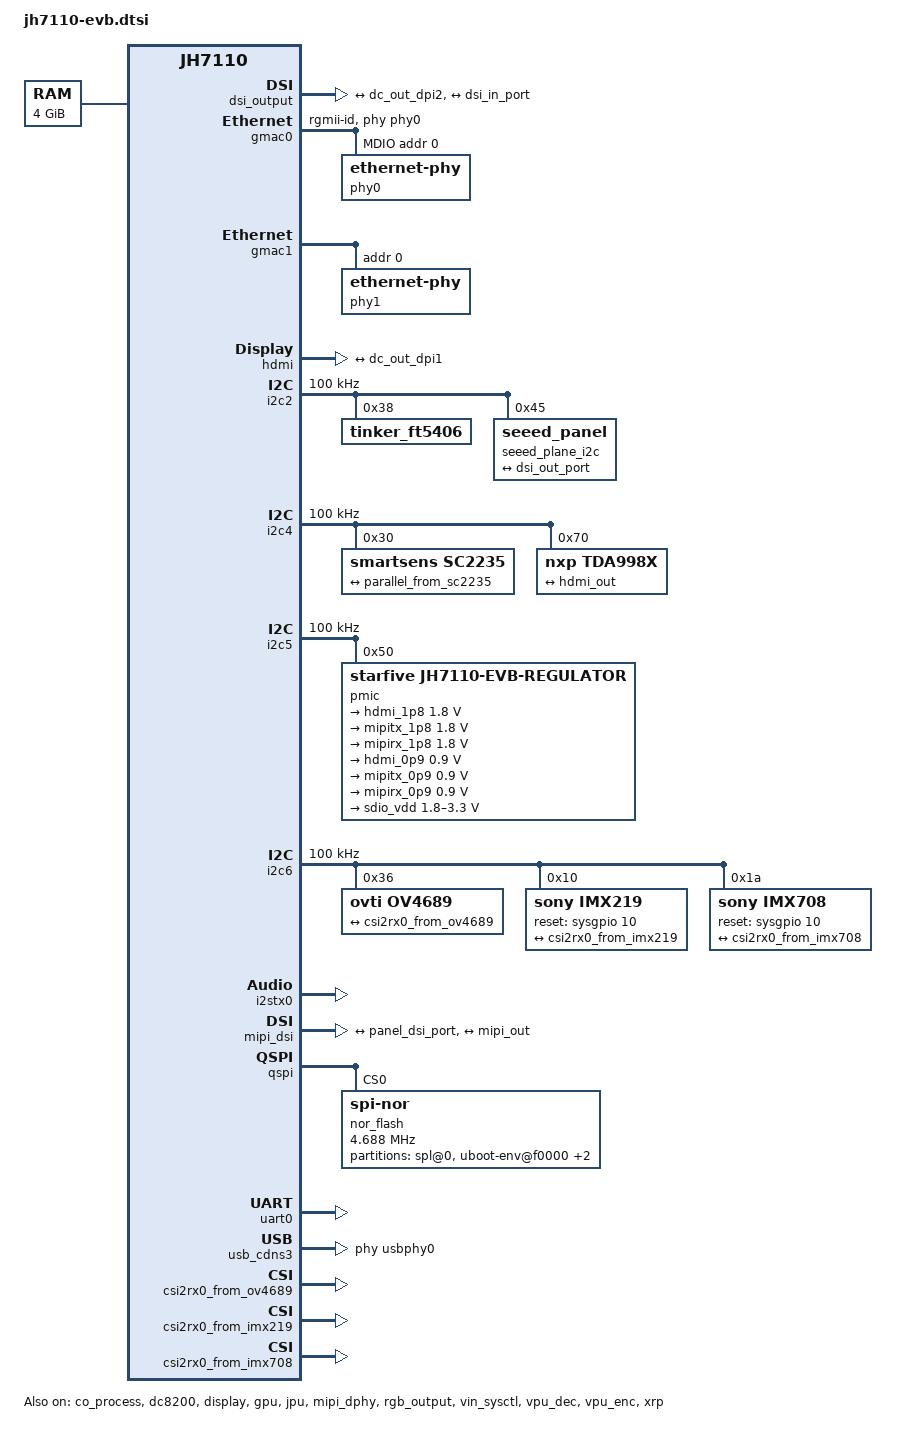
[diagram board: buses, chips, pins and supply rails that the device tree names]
// SPDX-License-Identifier: GPL-2.0 OR MIT
/*
 * Copyright (C) 2023 StarFive Technology Co., Ltd.
 */

/dts-v1/;
#include "jh7110.dtsi"
#include "jh7110-clk.dtsi"
#include "jh7110-evb-pinctrl.dtsi"
#include <dt-bindings/gpio/gpio.h>

/ {
	aliases {
		ethernet0 = &gmac0;
		ethernet1 = &gmac1;
		i2c0 = &i2c0;
		i2c1 = &i2c1;
		i2c2 = &i2c2;
		i2c3 = &i2c3;
		i2c4 = &i2c4;
		i2c5 = &i2c5;
		i2c6 = &i2c6;
		pcie0 = &pcie0;
		pcie1 = &pcie1;
		serial0 = &uart0;
		serial3 = &uart3;
	};

	chosen {
		stdout-path = "serial0:115200n8";
	};

	cpus {
		timebase-frequency = <4000000>;
	};

	memory@40000000 {
		device_type = "memory";
		reg = <0x0 0x40000000 0x1 0x0>;
	};

	reserved-memory {
		#address-cells = <2>;
		#size-cells = <2>;
		ranges;

		linux,cma {
			compatible = "shared-dma-pool";
			reusable;
			size = <0x0 0x20000000>;
			alignment = <0x0 0x1000>;
			alloc-ranges = <0x0 0x70000000 0x0 0x20000000>;
			linux,cma-default;
		};

		e24_mem: e24@c0000000 {
			reg = <0x0 0x6ce00000 0x0 0x1600000>;
		};

		xrp_reserved: xrpbuffer@f0000000 {
			reg = <0x0 0x69c00000 0x0 0x01ffffff
			       0x0 0x6bc00000 0x0 0x00001000
			       0x0 0x6bc01000 0x0 0x00fff000
			       0x0 0x6cc00000 0x0 0x00001000>;
		};
	};

	/* i2s + hdmi */
	sound1: snd-card1 {
		compatible = "simple-audio-card";
		#address-cells = <1>;
		#size-cells = <0>;

		simple-audio-card,name = "StarFive-HDMI-Sound-Card";
		simple-audio-card,dai-link@0 {
			reg = <0>;
			format = "i2s";
			bitclock-master = <&sndi2s0>;
			frame-master = <&sndi2s0>;
			mclk-fs = <256>;
			status = "okay";

			sndi2s0: cpu {
				sound-dai = <&i2stx0>;
			};

			codec {
				sound-dai = <&hdmi>;
			};
		};
	};
};

&U74_1 {
	/delete-property/ clocks;
	/delete-property/ clock-names;
};

&U74_2 {
	/delete-property/ clocks;
	/delete-property/ clock-names;
};

&U74_3 {
	/delete-property/ clocks;
	/delete-property/ clock-names;
};

&U74_4 {
	/delete-property/ clocks;
	/delete-property/ clock-names;
};

&can0 {
	pinctrl-names = "default";
	pinctrl-0 = <&can0_pins>;
	status = "disabled";
};

&can1 {
	pinctrl-names = "default";
	pinctrl-0 = <&can1_pins>;
	status = "disabled";
};

&co_process {
	memory-region = <&e24_mem>;
	status = "okay";
};

&dc8200 {
	status = "okay";

	dc_out: port {
		#address-cells = <1>;
		#size-cells = <0>;

		dc_out_dpi0: endpoint@0 {
			reg = <0>;
			remote-endpoint = <&hdmi_input0>;
		};
		dc_out_dpi1: endpoint@1 {
			reg = <1>;
			remote-endpoint = <&hdmi_in_lcdc>;
		};
		dc_out_dpi2: endpoint@2 {
			reg = <2>;
			remote-endpoint = <&mipi_in>;
		};
	};
};

&display {
	ports = <&dc_out_dpi0>;
	status = "okay";
};

&dsi_output {
	status = "okay";

	ports {
		#address-cells = <1>;
		#size-cells = <0>;

		port@0 {
			reg = <0>;
			mipi_in: endpoint {
				remote-endpoint = <&dc_out_dpi2>;
			};
		};

		port@1 {
			reg = <1>;
			mipi_out: endpoint {
				remote-endpoint = <&dsi_in_port>;
			};
		};
	};
};

&gmac0 {
	phy-handle = <&phy0>;
	phy-mode = "rgmii-id";
	status = "okay";

	mdio {
		#address-cells = <1>;
		#size-cells = <0>;
		compatible = "snps,dwmac-mdio";

		phy0: ethernet-phy@0 {
			reg = <0>;
			rx-internal-delay-ps = <1900>;
			tx-internal-delay-ps = <1650>;
		};
	};
};

&gmac1 {
	#address-cells = <1>;
	#size-cells = <0>;
	status = "okay";

	phy1: ethernet-phy@1 {
		reg = <0>;
		rxc-skew-ps = <1060>;
		txc-skew-ps = <1800>;
	};
};

&gpu {
	status = "okay";
};

&hdmi {
	status = "okay";
	pinctrl-names = "default";
	pinctrl-0 = <&hdmi_pins>;
	hpd-gpio = <&sysgpio 15 GPIO_ACTIVE_HIGH>;

	hdmi_in: port {
		#address-cells = <1>;
		#size-cells = <0>;
		hdmi_in_lcdc: endpoint@0 {
			reg = <0>;
			remote-endpoint = <&dc_out_dpi1>;
		};
	};
};

&i2c0 {
	clock-frequency = <100000>;
	i2c-sda-hold-time-ns = <300>;
	i2c-sda-falling-time-ns = <510>;
	i2c-scl-falling-time-ns = <510>;
	pinctrl-names = "default";
	pinctrl-0 = <&i2c0_pins>;
	status = "disabled";

	wm8960: codec@1a {
		compatible = "wlf,wm8960";
		reg = <0x1a>;
		wlf,shared-lrclk;
		#sound-dai-cells = <0>;
	};

	ac108: ac108@3b {
		compatible = "x-power,ac108_0";
		reg = <0x3b>;
		#sound-dai-cells = <0>;
		data-protocol = <0>;
	};
};

&i2c1 {
	clock-frequency = <100000>;
	i2c-sda-hold-time-ns = <300>;
	i2c-sda-falling-time-ns = <510>;
	i2c-scl-falling-time-ns = <510>;
	pinctrl-names = "default";
	pinctrl-0 = <&i2c1_pins>;
	status = "disabled";
};

&i2c2 {
	clock-frequency = <100000>;
	i2c-sda-hold-time-ns = <300>;
	i2c-sda-falling-time-ns = <510>;
	i2c-scl-falling-time-ns = <510>;
	pinctrl-names = "default";
	pinctrl-0 = <&i2c2_pins>;
	status = "okay";

	tinker_ft5406: tinker_ft5406@38 {
		compatible = "tinker_ft5406";
		reg = <0x38>;
	};

	seeed_plane_i2c@45 {
		compatible = "seeed_panel";
		reg = <0x45>;

		port {
			panel_dsi_port: endpoint {
				remote-endpoint = <&dsi_out_port>;
			};
		};
	};
};

&i2c3 {
	clock-frequency = <100000>;
	i2c-sda-hold-time-ns = <300>;
	i2c-sda-falling-time-ns = <510>;
	i2c-scl-falling-time-ns = <510>;
	pinctrl-names = "default";
	pinctrl-0 = <&i2c3_pins>;
	status = "disabled";
};

&i2c4 {
	clock-frequency = <100000>;
	i2c-sda-hold-time-ns = <300>;
	i2c-sda-falling-time-ns = <510>;
	i2c-scl-falling-time-ns = <510>;
	pinctrl-names = "default";
	pinctrl-0 = <&i2c4_pins>;
	status = "okay";

	sc2235: sc2235@30 {
		compatible = "smartsens,sc2235";
		reg = <0x30>;
		clocks = <&clk_ext_camera>;
		clock-names = "xclk";

		port {
			/* Parallel bus endpoint */
			sc2235_to_parallel: endpoint {
				remote-endpoint = <&parallel_from_sc2235>;
				bus-type = <5>;      /* Parallel */
				bus-width = <8>;
				data-shift = <2>; /* lines 13:6 are used */
				hsync-active = <1>;
				vsync-active = <1>;
				pclk-sample = <1>;
			};
		};
	};

	tda998x@70 {
		compatible = "nxp,tda998x";
		reg = <0x70>;

		port {
			tda998x_0_input: endpoint {
				remote-endpoint = <&hdmi_out>;
			};
		};
	};
};

&i2c5 {
	clock-frequency = <100000>;
	i2c-sda-hold-time-ns = <300>;
	i2c-sda-falling-time-ns = <510>;
	i2c-scl-falling-time-ns = <510>;
	pinctrl-names = "default";
	pinctrl-0 = <&i2c5_pins>;
	status = "okay";

	pmic: jh7110_evb_reg@50 {
		compatible = "starfive,jh7110-evb-regulator";
		reg = <0x50>;

		regulators {
			hdmi_1p8: LDO_REG1 {
				regulator-name = "hdmi_1p8";
				regulator-min-microvolt = <1800000>;
				regulator-max-microvolt = <1800000>;
			};
			mipitx_1p8: LDO_REG2 {
				regulator-name = "mipitx_1p8";
				regulator-min-microvolt = <1800000>;
				regulator-max-microvolt = <1800000>;
			};
			mipirx_1p8: LDO_REG3 {
				regulator-name = "mipirx_1p8";
				regulator-min-microvolt = <1800000>;
				regulator-max-microvolt = <1800000>;
			};
			hdmi_0p9: LDO_REG4 {
				regulator-name = "hdmi_0p9";
				regulator-min-microvolt = <900000>;
				regulator-max-microvolt = <900000>;
			};
			mipitx_0p9: LDO_REG5 {
				regulator-name = "mipitx_0p9";
				regulator-min-microvolt = <900000>;
				regulator-max-microvolt = <900000>;
			};
			mipirx_0p9: LDO_REG6 {
				regulator-name = "mipirx_0p9";
				regulator-min-microvolt = <900000>;
				regulator-max-microvolt = <900000>;
			};
			sdio_vdd: LDO_REG7 {
				regulator-name = "sdio_vdd";
				regulator-min-microvolt = <1800000>;
				regulator-max-microvolt = <3300000>;
			};
		};
	};
};

&i2c6 {
	clock-frequency = <100000>;
	i2c-sda-hold-time-ns = <300>;
	i2c-sda-falling-time-ns = <510>;
	i2c-scl-falling-time-ns = <510>;
	pinctrl-names = "default";
	pinctrl-0 = <&i2c6_pins>;
	status = "okay";

	ov4689: ov4689@36 {
		compatible = "ovti,ov4689";
		reg = <0x36>;
		clocks = <&clk_ext_camera>;
		clock-names = "xclk";
		//reset-gpio = <&sysgpio 18 0>;
		rotation = <180>;

		port {
			/* Parallel bus endpoint */
			ov4689_to_csi2rx0: endpoint {
				remote-endpoint = <&csi2rx0_from_ov4689>;
				bus-type = <4>;		/* MIPI CSI-2 D-PHY */
				clock-lanes = <0>;
				data-lanes = <1 2 3 4>;
			};
		};
	};

	imx219: imx219@10 {
		compatible = "sony,imx219";
		reg = <0x10>;
		clocks = <&clk_ext_camera>;
		clock-names = "xclk";
		reset-gpio = <&sysgpio 10 0>;
		//DOVDD-supply = <&v2v8>;
		rotation = <0>;
		orientation = <1>; //CAMERA_ORIENTATION_BACK

		port {
			/* CSI2 bus endpoint */
			imx219_to_csi2rx0: endpoint {
				remote-endpoint = <&csi2rx0_from_imx219>;
				bus-type = <4>;      /* MIPI CSI-2 D-PHY */
				clock-lanes = <0>;
				data-lanes = <2 1>;
				lane-polarities = <1 1 1>;
				link-frequencies = /bits/ 64 <456000000>;
			};
		};
	};

	imx708: imx708@1a {
		compatible = "sony,imx708";
		reg = <0x1a>;
		clocks = <&clk_ext_camera>;
		reset-gpio = <&sysgpio 10 0>;

		port {
			imx708_to_csi2rx0: endpoint {
				remote-endpoint = <&csi2rx0_from_imx708>;
				data-lanes = <1 2>;
				clock-noncontinuous;
				link-frequencies = /bits/ 64 <450000000>;
			};
		};
	};
};

&i2srx {
	pinctrl-names = "default";
	pinctrl-0 = <&i2s_clk_pins &i2srx_pins>;
};

&i2srx_mst {
	pinctrl-names = "default";
	pinctrl-0 = <&i2srx_clk_pins>;
};

&i2stx0 {
	pinctrl-names = "default";
	pinctrl-0 = <&mclk_ext_pins>;
	status = "okay";
};

&i2stx1 {
	pinctrl-names = "default";
	pinctrl-0 = <&i2stx_pins>;
};

&jpu {
	status = "okay";
};

&mailbox_contrl0 {
	status = "okay";
};

&mailbox_client0 {
	status = "okay";
};

&mipi_dphy {
	status = "okay";
};

&mipi_dsi {
	status = "okay";

	port {
		dsi_out_port: endpoint@0 {
			remote-endpoint = <&panel_dsi_port>;
		};
		dsi_in_port: endpoint@1 {
			remote-endpoint = <&mipi_out>;
		};
	};

	mipi_panel: panel@0 {
		/*compatible = "";*/
		status = "okay";
	};
};

&pcie0 {
	enable-gpios = <&sysgpio 32 GPIO_ACTIVE_HIGH>;
	perst-gpios = <&sysgpio 26 GPIO_ACTIVE_LOW>;
	phys = <&pciephy0>;
	status = "disabled";
};

&pcie1 {
	enable-gpios = <&sysgpio 21 GPIO_ACTIVE_HIGH>;
	perst-gpios = <&sysgpio 28 GPIO_ACTIVE_LOW>;
	phys = <&pciephy1>;
	status = "disabled";
};

&pciephy0 {
	starfive,sys-syscon = <&sys_syscon 0x18>;
	starfive,stg-syscon = <&stg_syscon 0x148 0x1f4>;
};

&pdm {
	pinctrl-names = "default";
	pinctrl-0 = <&pdm_pins>;
	status = "disabled";
};

&pwmdac {
	pinctrl-names = "default";
	pinctrl-0 = <&pwmdac_pins>;
};

&qspi {
	#address-cells = <1>;
	#size-cells = <0>;
	status = "okay";

	nor_flash: flash@0 {
		compatible = "jedec,spi-nor";
		reg=<0>;
		cdns,read-delay = <5>;
		spi-max-frequency = <4687500>;
		cdns,tshsl-ns = <1>;
		cdns,tsd2d-ns = <1>;
		cdns,tchsh-ns = <1>;
		cdns,tslch-ns = <1>;

		partitions {
			compatible = "fixed-partitions";
			#address-cells = <1>;
			#size-cells = <1>;

			spl@0 {
				reg = <0x0 0x40000>;
			};
			uboot-env@f0000 {
				reg = <0xf0000 0x10000>;
			};
			uboot@100000 {
				reg = <0x100000 0x300000>;
			};
			data@f00000 {
				reg = <0xf00000 0x100000>;
			};
		};
	};
};

&rgb_output {
	status = "okay";

	ports {
		#address-cells = <1>;
		#size-cells = <0>;

		port@0 {
			#address-cells = <1>;
			#size-cells = <0>;
			reg = <0>;

			hdmi_input0:endpoint@0 {
				reg = <0>;
				remote-endpoint = <&dc_out_dpi0>;
			};
		};

		port@1 {
			reg = <1>;

			hdmi_out:endpoint {
				remote-endpoint = <&tda998x_0_input>;
			};
		};
	};
};

&spdif {
	pinctrl-names = "default";
	pinctrl-0 = <&spdif_pins>;
};

&spi0 {
	pinctrl-names = "default";
	pinctrl-0 = <&spi0_pins>;
	status = "disabled";

	spi_dev0: spi_dev@0 {
		compatible = "rohm,dh2228fv";
		reg = <0>;
		pl022,com-mode = <1>;
		spi-max-frequency = <10000000>;
	};
};

&spi1 {
	pinctrl-names = "default";
	pinctrl-0 = <&spi1_pins>;
	status = "disabled";

	spi_dev1: spi_dev@0 {
		compatible = "rohm,dh2228fv";
		reg = <0>;
		pl022,com-mode = <1>;
		spi-max-frequency = <10000000>;
	};
};

&spi2 {
	pinctrl-names = "default";
	pinctrl-0 = <&spi2_pins>;
	status = "disabled";

	spi_dev2: spi_dev@0 {
		compatible = "rohm,dh2228fv";
		reg = <0>;
		pl022,com-mode = <1>;
		spi-max-frequency = <10000000>;
	};
};

&spi3 {
	pinctrl-names = "default";
	pinctrl-0 = <&spi3_pins>;
	status = "disabled";

	spi_dev3: spi_dev@0 {
		compatible = "rohm,dh2228fv";
		reg = <0>;
		pl022,com-mode = <1>;
		spi-max-frequency = <10000000>;
	};
};

&spi4 {
	pinctrl-names = "default";
	pinctrl-0 = <&spi4_pins>;
	status = "disabled";

	spi_dev4: spi_dev@0 {
		compatible = "rohm,dh2228fv";
		reg = <0>;
		pl022,com-mode = <1>;
		spi-max-frequency = <10000000>;
	};
};

&spi5 {
	pinctrl-names = "default";
	pinctrl-0 = <&spi5_pins>;
	status = "disabled";

	spi_dev5: spi_dev@0 {
		compatible = "rohm,dh2228fv";
		reg = <0>;
		pl022,com-mode = <1>;
		spi-max-frequency = <10000000>;
	};
};

&spi6 {
	pinctrl-names = "default";
	pinctrl-0 = <&spi6_pins>;
	status = "disabled";

	spi_dev6: spi_dev@0 {
		compatible = "rohm,dh2228fv";
		reg = <0>;
		pl022,com-mode = <1>;
		spi-max-frequency = <10000000>;
	};
};

&tda988x_pin {
	pinctrl-names = "default";
	pinctrl-0 = <&rgb_pad_pins>;
	status = "disabled";
};

&tdm {
	pinctrl-names = "default";
	pinctrl-0 = <&tdm_pins>;
	status = "disabled";
};

&uart0 {
	pinctrl-names = "default";
	pinctrl-0 = <&uart0_pins>;
	status = "okay";
};

&uart1 {
	pinctrl-names = "default";
	pinctrl-0 = <&uart1_pins>;
	status = "disabled";
};

&uart2 {
	pinctrl-names = "default";
	pinctrl-0 = <&uart2_pins>;
	status = "disabled";
};

&uart3 {
	pinctrl-names = "default";
	pinctrl-0 = <&uart3_pins>;
	status = "disabled";
};

&uart4 {
	pinctrl-names = "default";
	pinctrl-0 = <&uart4_pins>;
	status = "disabled";
};

&uart5 {
	pinctrl-names = "default";
	pinctrl-0 = <&uart5_pins>;
	status = "disabled";
};

&usb0 {
	clocks = <&stgcrg JH7110_STGCLK_USB0_LPM>,
		 <&stgcrg JH7110_STGCLK_USB0_STB>,
		 <&stgcrg JH7110_STGCLK_USB0_APB>,
		 <&stgcrg JH7110_STGCLK_USB0_AXI>,
		 <&stgcrg JH7110_STGCLK_USB0_UTMI_APB>,
		 <&stgcrg JH7110_STGCLK_PCIE0_APB>;
	clock-names = "lpm", "stb", "apb", "axi", "utmi_apb", "phy";
	resets = <&stgcrg JH7110_STGRST_USB0_PWRUP>,
		 <&stgcrg JH7110_STGRST_USB0_APB>,
		 <&stgcrg JH7110_STGRST_USB0_AXI>,
		 <&stgcrg JH7110_STGRST_USB0_UTMI_APB>,
		 <&stgcrg JH7110_STGRST_PCIE0_APB>;
	reset-names = "pwrup", "apb", "axi", "utmi_apb", "phy";
	pinctrl-names = "default";
	pinctrl-0 = <&usb_pins>;
	dr_mode = "host"; /* host or peripheral */
	status = "disabled";
};

&usb_cdns3 {
	phys = <&usbphy0>, <&pciephy0>;
	phy-names = "cdns3,usb2-phy", "cdns3,usb3-phy";
};

&vin_sysctl {
	status = "okay";

	ports {
		#address-cells = <1>;
		#size-cells = <0>;

		port@0 {
			reg = <0>;
			#address-cells = <1>;
			#size-cells = <0>;

			/* Parallel bus endpoint */
			parallel_from_sc2235: endpoint@0 {
				reg = <0>;
				remote-endpoint = <&sc2235_to_parallel>;
				bus-type = <5>;		/* Parallel */
				bus-width = <8>;
				data-shift = <2>;	/* lines 9:2 are used */
				hsync-active = <1>;
				vsync-active = <0>;
				pclk-sample = <1>;
				status = "okay";
			};
		};

		port@1 {
			reg = <1>;
			#address-cells = <1>;
			#size-cells = <0>;

			/* CSI2 bus endpoint */
			csi2rx0_from_ov4689: endpoint@0 {
				reg = <0>;
				remote-endpoint = <&ov4689_to_csi2rx0>;
				bus-type = <4>;      /* MIPI CSI-2 D-PHY */
				clock-lanes = <0>;
				data-lanes = <1 2 3 4>;
				status = "okay";
			};

			/* CSI2 bus endpoint */
			csi2rx0_from_imx219: endpoint@1 {
				reg = <1>;
				remote-endpoint = <&imx219_to_csi2rx0>;
				bus-type = <4>;      /* MIPI CSI-2 D-PHY */
				clock-lanes = <0>;
				data-lanes = <2 1>;
				lane-polarities = <1 1 1>;
				status = "okay";
			};

			csi2rx0_from_imx708: endpoint@2 {
				reg = <2>;
				remote-endpoint = <&imx708_to_csi2rx0>;
				bus-type = <4>;      /* MIPI CSI-2 D-PHY */
				clock-lanes = <0>;
				data-lanes = <2 1>;
				lane-polarities = <1 1 1>;
				status = "okay";
			};
		};
	};
};

&vpu_dec {
	status = "okay";
};

&vpu_enc {
	status = "okay";
};

&xrp {
	memory-region = <&xrp_reserved>;
	status = "okay";
};
